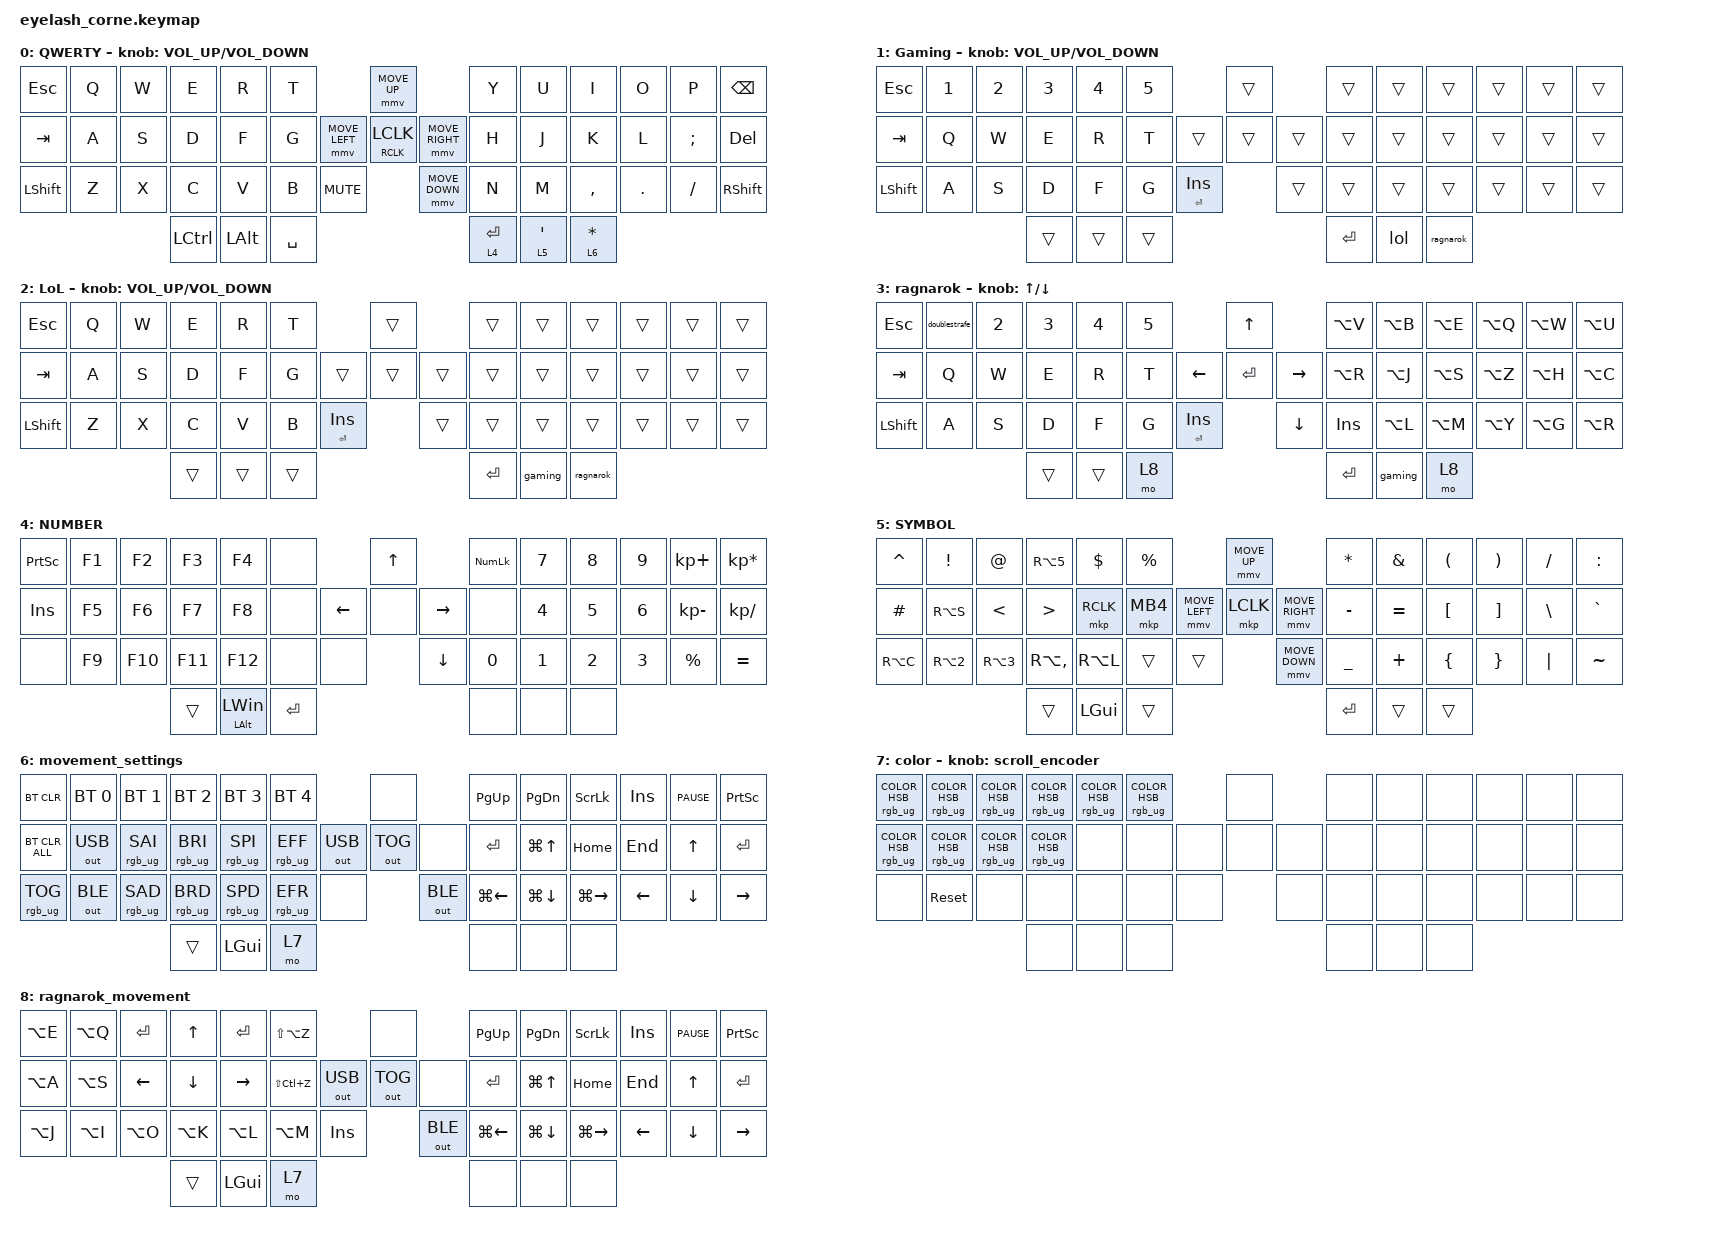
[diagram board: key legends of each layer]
#define ZMK_POINTING_DEFAULT_MOVE_VAL 1200  // 600
#define ZMK_POINTING_DEFAULT_SCRL_VAL 25   // 10

#include <input/processors.dtsi>
#include <zephyr/dt-bindings/input/input-event-codes.h>
#include <behaviors.dtsi>
#include <dt-bindings/zmk/bt.h>
#include <dt-bindings/zmk/keys.h>
#include <dt-bindings/zmk/outputs.h>
#include <dt-bindings/zmk/pointing.h>
#include <dt-bindings/zmk/rgb.h>

&mmv_input_listener { input-processors = <&zip_xy_scaler 2 1>; };

&msc_input_listener { input-processors = <&zip_scroll_scaler 2 1>; };

&msc {
    acceleration-exponent = <1>;      // 0
    time-to-max-speed-ms = <100>;       // 300
    delay-ms = <0>;                   // 0
};

&mmv {
    time-to-max-speed-ms = <500>;
    acceleration-exponent = <1>;
    trigger-period-ms = <16>;
};

/ {
    behaviors {
        td0: td0 {
            compatible = "zmk,behavior-tap-dance";
            display-name = "Shift/Caps Lock Tap Dance";
            #binding-cells = <0>;
            bindings = <&kp LEFT_SHIFT>, <&kp CAPS>;
        };

        mouseMove: mouseMove {
            compatible = "zmk,behavior-hold-tap";
            label = "MOUSEMOVE";
            bindings = <&mmv>, <&kp>;

            #binding-cells = <2>;
            tapping-term-ms = <200>;
            flavor = "balanced";
            hold-trigger-key-positions = <6 19 35 21>;
        };

        mouseClick: mouseClick {
            compatible = "zmk,behavior-hold-tap";
            label = "MOUSECLICK";
            bindings = <&mkp>, <&mkp>;

            #binding-cells = <2>;
            tapping-term-ms = <200>;
            hold-trigger-key-positions = <20>;
        };
    };

    rgb_encoder: rgb_encoder {
        compatible = "zmk,behavior-sensor-rotate";
        #sensor-binding-cells = <0>;
        bindings = <&rgb_ug RGB_BRI>, <&rgb_ug RGB_BRD>;
    };

    scroll_encoder: scroll_encoder {
        compatible = "zmk,behavior-sensor-rotate";
        #sensor-binding-cells = <0>;
        bindings = <&msc SCRL_DOWN>, <&msc SCRL_UP>;

        tap-ms = <100>;
    };

    combos {
        compatible = "zmk,combos";

        GamingLayer {
            bindings = <&gaming_toggleRgb>;
            key-positions = <45 47 46>;
            layers = <0>;
        };

        windows {
            bindings = <&kp LEFT_WIN>;
            key-positions = <45 46>;
            layers = <0>;
        };

        default_laout {
            bindings = <&defaul_toggleRgb>;
            key-positions = <46 47 45>;
            layers = <1 2 3>;
        };

        minus {
            bindings = <&kp KP_MINUS>;
            key-positions = <22 23>;
            layers = <0>;
        };

        unterstrich {
            bindings = <&kp UNDERSCORE>;
            key-positions = <36 37>;
            layers = <0>;
        };

        oe {
            bindings = <&oe_umlaut>;
            key-positions = <10 3>;
            layers = <0>;
        };

        ae {
            bindings = <&ae_umlaut>;
            key-positions = <3 14>;
            layers = <0>;
        };

        ue {
            bindings = <&ue_umlaut>;
            key-positions = <3 8>;
            layers = <0>;
        };

        window {
            bindings = <&kp LEFT_WIN>;
            key-positions = <42 43>;
            layers = <0>;
        };
    };

    macros {
        gaming_toggleRgb: new_macro {
            compatible = "zmk,behavior-macro";
            #binding-cells = <0>;
            bindings = <&to 1 &rgb_ug RGB_TOG &rgb_ug RGB_COLOR_HSB(272,92,47)>;
            label = "NEW_MACRO";
        };

        defaul_toggleRgb: defaul_toggleRgb {
            compatible = "zmk,behavior-macro";
            #binding-cells = <0>;
            bindings = <&to 0 &rgb_ug RGB_TOG>;
            label = "DEFAUL_TOGGLERGB";
        };

        oe_umlaut: oe_umlaut {
            compatible = "zmk,behavior-macro";
            #binding-cells = <0>;
            bindings = <&kp DOUBLE_QUOTES &kp O>;
            label = "OE_UMLAUT";
        };

        ae_umlaut: ae_umlaut {
            compatible = "zmk,behavior-macro";
            #binding-cells = <0>;
            bindings = <&kp DOUBLE_QUOTES &kp A>;
            label = "AE_UMLAUT";
        };

        ue_umlaut: ue_umlaut {
            compatible = "zmk,behavior-macro";
            #binding-cells = <0>;
            bindings = <&kp DOUBLE_QUOTES &kp U>;
            label = "UE_UMLAUT";
        };

        doublestrafe: doublestrafe {
            compatible = "zmk,behavior-macro";
            #binding-cells = <0>;
            bindings = <&kp NUMBER_1 &mkp LCLK>;
            label = "DOUBLESTRAFE";
        };

        lol: lol {
            compatible = "zmk,behavior-macro";
            #binding-cells = <0>;
            bindings = <&to 2 &rgb_ug RGB_COLOR_HSB(121,100,30)>;
            label = "LOL";
        };

        ragnarok: ragnarok {
            compatible = "zmk,behavior-macro";
            #binding-cells = <0>;
            bindings = <&to 3 &rgb_ug RGB_COLOR_HSB(29,100,49)>;
            label = "RAGNAROK";
        };

        gaming: gaming {
            compatible = "zmk,behavior-macro";
            #binding-cells = <0>;
            bindings = <&to 1 &rgb_ug RGB_COLOR_HSB(267,100,49)>;
            label = "GAMING";
        };
    };

    keymap {
        compatible = "zmk,keymap";

        default_layer {
            display-name = "QWERTY";
            bindings = <
&kp ESC         &kp Q  &kp W  &kp E      &kp R         &kp T                                    &mmv MOVE_UP                            &kp Y        &kp U               &kp I           &kp O    &kp P      &kp BACKSPACE
&kp TAB         &kp A  &kp S  &kp D      &kp F         &kp G                    &mmv MOVE_LEFT  &mouseClick RCLK LCLK  &mmv MOVE_RIGHT  &kp H        &kp J               &kp K           &kp L    &kp SEMI   &kp DEL
&kp LEFT_SHIFT  &kp Z  &kp X  &kp C      &kp V         &kp B      &kp C_MUTE                    &mmv MOVE_DOWN                          &kp N        &kp M               &kp COMMA       &kp DOT  &kp SLASH  &kp RIGHT_SHIFT
                              &kp LCTRL  &kp LEFT_ALT  &kp SPACE                                                                        &lt 4 ENTER  &lt 5 SINGLE_QUOTE  &lt 6 ASTERISK
            >;

            sensor-bindings = <&inc_dec_kp C_VOLUME_UP C_VOLUME_DOWN>;
        };

        Gaming {
            bindings = <
&kp ESC    &kp N1  &kp N2  &kp NUMBER_3  &kp NUMBER_4  &kp N5                           &trans          &trans     &trans  &trans     &trans  &trans  &trans
&kp TAB    &kp Q   &kp W   &kp E         &kp R         &kp T                    &trans  &trans  &trans  &trans     &trans  &trans     &trans  &trans  &trans
&kp LSHFT  &kp A   &kp S   &kp D         &kp F         &kp G   &mt ENTER INS            &trans          &trans     &trans  &trans     &trans  &trans  &trans
                           &trans        &trans        &trans                                           &kp ENTER  &lol    &ragnarok
            >;

            label = "Gaming";
            sensor-bindings = <&inc_dec_kp C_VOLUME_UP C_VOLUME_DOWN>;
        };

        LoL {
            label = "LoL";
            bindings = <
&kp ESC    &kp Q  &kp W  &kp E   &kp R   &kp T                            &trans          &trans     &trans   &trans     &trans  &trans  &trans
&kp TAB    &kp A  &kp S  &kp D   &kp F   &kp G                    &trans  &trans  &trans  &trans     &trans   &trans     &trans  &trans  &trans
&kp LSHFT  &kp Z  &kp X  &kp C   &kp V   &kp B   &mt ENTER INS            &trans          &trans     &trans   &trans     &trans  &trans  &trans
                         &trans  &trans  &trans                                           &kp ENTER  &gaming  &ragnarok
            >;

            sensor-bindings = <&inc_dec_kp C_VOLUME_UP C_VOLUME_DOWN>;
        };

        ragnarok {
            label = "ragnarok";
            bindings = <
&kp ESC    &doublestrafe  &kp N2  &kp NUMBER_3  &kp NUMBER_4  &kp N5                             &kp UP_ARROW                     &kp LA(V)  &kp LA(B)  &kp LA(E)  &kp LA(Q)  &kp LA(W)  &kp LA(U)
&kp TAB    &kp Q          &kp W   &kp E         &kp R         &kp T                    &kp LEFT  &kp ENTER       &kp RIGHT_ARROW  &kp LA(R)  &kp LA(J)  &kp LA(S)  &kp LA(Z)  &kp LA(H)  &kp LA(C)
&kp LSHFT  &kp A          &kp S   &kp D         &kp F         &kp G   &mt ENTER INS              &kp DOWN_ARROW                   &kp INS    &kp LA(L)  &kp LA(M)  &kp LA(Y)  &kp LA(G)  &kp LA(R)
                                  &trans        &trans        &mo 8                                                               &kp ENTER  &gaming    &mo 8
            >;

            sensor-bindings = <&inc_dec_kp UP_ARROW DOWN_ARROW>;
        };

        number {
            display-name = "NUMBER";
            bindings = <
&kp PRINTSCREEN  &kp F1  &kp F2   &kp F3   &kp F4                 &none                         &kp UP_ARROW             &kp KP_NUM  &kp N7  &kp N8  &kp N9  &kp KP_PLUS      &kp KP_MULTIPLY
&kp INS          &kp F5  &kp F6   &kp F7   &kp F8                 &none               &kp LEFT  &none         &kp RIGHT  &none       &kp N4  &kp N5  &kp N6  &kp KP_SUBTRACT  &kp KP_DIVIDE
&none            &kp F9  &kp F10  &kp F11  &kp F12                &none      &none              &kp DOWN                 &kp N0      &kp N1  &kp N2  &kp N3  &kp PERCENT      &kp EQUAL
                                  &trans   &mt LEFT_ALT LEFT_WIN  &kp ENTER                                              &none       &none   &none
            >;

            label = "number";
        };

        symbol {
            display-name = "SYMBOL";
            bindings = <
&kp CARET  &kp EXCL          &kp AT            &kp RA(N5)        &kp DLLR      &kp PRCNT                            &mmv MOVE_UP                     &kp ASTRK  &kp AMPS   &kp LEFT_PARENTHESIS  &kp RIGHT_PARENTHESIS  &kp SLASH  &kp COLON
&kp HASH   &kp RA(S)         &kp LESS_THAN     &kp GREATER_THAN  &mkp RCLK     &mkp MB4             &mmv MOVE_LEFT  &mkp LCLK       &mmv MOVE_RIGHT  &kp MINUS  &kp EQUAL  &kp LBKT              &kp RBKT               &kp BSLH   &kp GRAVE
&kp RA(C)  &kp RA(NUMBER_2)  &kp RA(NUMBER_3)  &kp RA(COMMA)     &kp RA(L)     &trans     &trans                    &mmv MOVE_DOWN                   &kp UNDER  &kp PLUS   &kp LBRC              &kp RBRC               &kp PIPE   &kp TILDE
                                               &trans            &kp LEFT_GUI  &trans                                                                &kp RET    &trans     &trans
            >;
        };

        movement_settings {
            bindings = <
&bt BT_CLR       &bt BT_SEL 0  &bt BT_SEL 1     &bt BT_SEL 2     &bt BT_SEL 3     &bt BT_SEL 4                            &none                &kp PAGE_UP   &kp PAGE_DOWN  &kp SCROLLLOCK  &kp INSERT  &kp C_PAUSE     &kp PRINTSCREEN
&bt BT_CLR_ALL   &out OUT_USB  &rgb_ug RGB_SAI  &rgb_ug RGB_BRI  &rgb_ug RGB_SPI  &rgb_ug RGB_EFF           &out OUT_USB  &out OUT_TOG  &none  &kp ENTER     &kp LG(UP)     &kp HOME        &kp END     &kp UP_ARROW    &kp ENTER
&rgb_ug RGB_TOG  &out OUT_BLE  &rgb_ug RGB_SAD  &rgb_ug RGB_BRD  &rgb_ug RGB_SPD  &rgb_ug RGB_EFR  &none                  &out OUT_BLE         &kp LG(LEFT)  &kp LG(DOWN)   &kp LG(RIGHT)   &kp LEFT    &kp DOWN_ARROW  &kp RIGHT_ARROW
                                                &trans           &kp LEFT_GUI     &mo 7                                                        &none         &none          &none
            >;

            label = "movement_settings";
        };

        color {
            display-name = "color";
            bindings = <
&rgb_ug RGB_COLOR_HSB(0,100,50)    &rgb_ug RGB_COLOR_HSB(19,99,50)   &rgb_ug RGB_COLOR_HSB(28,100,50)   &rgb_ug RGB_COLOR_HSB(54,100,50)   &rgb_ug RGB_COLOR_HSB(81,100,50)  &rgb_ug RGB_COLOR_HSB(178,100,50)                  &none         &none  &none  &none  &none  &none  &none
&rgb_ug RGB_COLOR_HSB(199,100,49)  &rgb_ug RGB_COLOR_HSB(277,94,51)  &rgb_ug RGB_COLOR_HSB(264,100,50)  &rgb_ug RGB_COLOR_HSB(302,100,50)  &none                             &none                                       &none  &none  &none  &none  &none  &none  &none  &none  &none
&none                              &sys_reset                        &none                              &none                              &none                             &none                              &none           &none         &none  &none  &none  &none  &none  &none
                                                                                                        &none                              &none                             &none                                                            &none  &none  &none
            >;

            sensor-bindings = <&scroll_encoder>;
        };

        ragnarok_movement {
            label = "ragnarok_movement";
            bindings = <
&kp LA(E)  &kp LA(Q)  &kp RET    &kp UP     &kp RET       &kp LS(LA(Z))                           &none                &kp PAGE_UP   &kp PAGE_DOWN  &kp SCROLLLOCK  &kp INSERT  &kp C_PAUSE     &kp PRINTSCREEN
&kp LA(A)  &kp LA(S)  &kp LEFT   &kp DOWN   &kp RIGHT     &kp LS(LC(Z))             &out OUT_USB  &out OUT_TOG  &none  &kp ENTER     &kp LG(UP)     &kp HOME        &kp END     &kp UP_ARROW    &kp ENTER
&kp LA(J)  &kp LA(I)  &kp LA(O)  &kp LA(K)  &kp LA(L)     &kp LA(M)      &kp INS                  &out OUT_BLE         &kp LG(LEFT)  &kp LG(DOWN)   &kp LG(RIGHT)   &kp LEFT    &kp DOWN_ARROW  &kp RIGHT_ARROW
                                 &trans     &kp LEFT_GUI  &mo 7                                                        &none         &none          &none
            >;
        };
    };

    conditional_layers { compatible = "zmk,conditional-layers"; };
};
